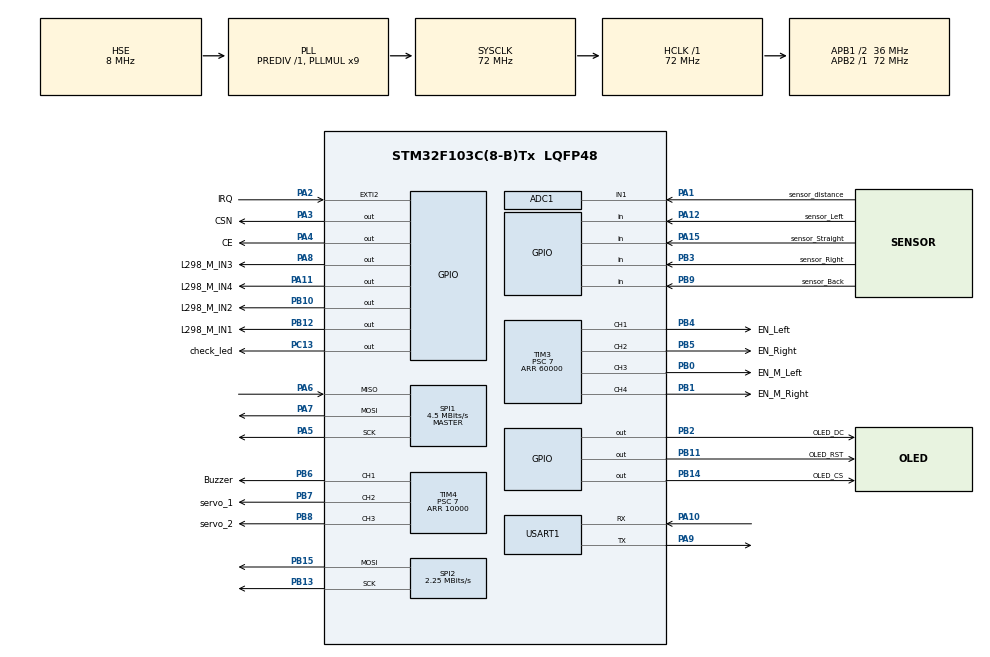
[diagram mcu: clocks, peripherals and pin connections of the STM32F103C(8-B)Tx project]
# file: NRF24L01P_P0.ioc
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ADC1.Channel-2\#ChannelRegularConversion=ADC_CHANNEL_1
ADC1.NbrOfConversion=1
ADC1.NbrOfConversionFlag=1
ADC1.Rank-2\#ChannelRegularConversion=1
ADC1.SamplingTime-2\#ChannelRegularConversion=ADC_SAMPLETIME_239CYCLES_5
ADC1.master=1
Mcu.Family=STM32F1
Mcu.Name=STM32F103C(8-B)Tx
Mcu.Package=LQFP48
NVIC.EXTI2_IRQn=true\:0\:0\:false\:false\:true\:true\:true\:true
NVIC.PriorityGroup=NVIC_PRIORITYGROUP_4
NVIC.USART1_IRQn=true\:0\:0\:false\:false\:true\:true\:true\:true
PA1.GPIO_Label=sensor_distance
PA1.Signal=ADCx_IN1
PA10.Mode=Asynchronous
PA10.Signal=USART1_RX
PA11.GPIO_Label=L298_M_IN4
PA11.Signal=GPIO_Output
PA12.GPIO_Label=sensor_Left
PA12.Signal=GPIO_Input
PA13.Mode=Serial_Wire
PA13.Signal=SYS_JTMS-SWDIO
PA14.Mode=Serial_Wire
PA14.Signal=SYS_JTCK-SWCLK
PA15.GPIO_Label=sensor_Straight
PA15.Signal=GPIO_Input
PA2.GPIO_Label=IRQ
PA2.GPIO_ModeDefaultEXTI=GPIO_MODE_IT_FALLING
PA2.GPIO_PuPd=GPIO_PULLUP
PA2.Signal=GPXTI2
PA3.GPIO_Label=CSN
PA3.GPIO_PuPd=GPIO_PULLUP
PA3.GPIO_Speed=GPIO_SPEED_FREQ_HIGH
PA3.PinState=GPIO_PIN_SET
PA3.Signal=GPIO_Output
PA4.GPIO_Label=CE
PA4.GPIO_PuPd=GPIO_PULLDOWN
PA4.GPIO_Speed=GPIO_SPEED_FREQ_HIGH
PA4.Signal=GPIO_Output
PA5.Mode=Full_Duplex_Master
PA5.Signal=SPI1_SCK
PA6.Mode=Full_Duplex_Master
PA6.Signal=SPI1_MISO
PA7.Mode=Full_Duplex_Master
PA7.Signal=SPI1_MOSI
PA8.GPIO_Label=L298_M_IN3
PA8.Signal=GPIO_Output
PA9.Mode=Asynchronous
PA9.Signal=USART1_TX
PB0.GPIO_Label=EN_M_Left
PB0.Signal=S_TIM3_CH3
PB1.GPIO_Label=EN_M_Right
PB1.Signal=S_TIM3_CH4
PB10.GPIO_Label=L298_M_IN2
PB10.Signal=GPIO_Output
PB11.GPIO_Label=OLED_RST
PB11.GPIO_PuPd=GPIO_PULLUP
PB11.GPIO_Speed=GPIO_SPEED_FREQ_HIGH
PB11.PinState=GPIO_PIN_SET
PB11.Signal=GPIO_Output
PB12.GPIO_Label=L298_M_IN1
PB12.GPIO_PuPd=GPIO_NOPULL
PB12.GPIO_Speed=GPIO_SPEED_FREQ_HIGH
PB12.PinState=GPIO_PIN_RESET
PB12.Signal=GPIO_Output
PB13.Mode=TX_Only_Simplex_Unidirect_Master
PB13.Signal=SPI2_SCK
PB14.GPIO_Label=OLED_CS
PB14.GPIO_PuPd=GPIO_PULLUP
PB14.GPIO_Speed=GPIO_SPEED_FREQ_HIGH
PB14.PinState=GPIO_PIN_SET
PB14.Signal=GPIO_Output
PB15.Mode=TX_Only_Simplex_Unidirect_Master
PB15.Signal=SPI2_MOSI
PB2.GPIO_Label=OLED_DC
PB2.Signal=GPIO_Output
PB3.GPIO_Label=sensor_Right
PB3.Signal=GPIO_Input
PB4.GPIO_Label=EN_Left
PB4.Signal=S_TIM3_CH1
PB5.GPIO_Label=EN_Right
PB5.Signal=S_TIM3_CH2
PB6.GPIO_Label=Buzzer
PB6.Signal=S_TIM4_CH1
PB7.GPIO_Label=servo_1
PB7.Signal=S_TIM4_CH2
PB8.GPIO_Label=servo_2
PB8.Signal=S_TIM4_CH3
PB9.GPIO_Label=sensor_Back
PB9.Signal=GPIO_Input
PC13-TAMPER-RTC.GPIO_Label=check_led
PC13-TAMPER-RTC.Signal=GPIO_Output
PD0-OSC_IN.Mode=HSE-External-Oscillator
PD0-OSC_IN.Signal=RCC_OSC_IN
PD1-OSC_OUT.Mode=HSE-External-Oscillator
PD1-OSC_OUT.Signal=RCC_OSC_OUT
ProjectManager.HeapSize=0x200
ProjectManager.StackSize=0x400
ProjectManager.TargetToolchain=STM32CubeIDE
RCC.ADCPresc=RCC_ADCPCLK2_DIV6
RCC.AHBFreq_Value=72000000
RCC.APB1CLKDivider=RCC_HCLK_DIV2
RCC.APB1Freq_Value=36000000
RCC.APB1TimFreq_Value=72000000
RCC.APB2Freq_Value=72000000
RCC.APB2TimFreq_Value=72000000
RCC.HCLKFreq_Value=72000000
RCC.PLLMUL=RCC_PLL_MUL9
RCC.PLLSourceVirtual=RCC_PLLSOURCE_HSE
RCC.SYSCLKFreq_VALUE=72000000
RCC.SYSCLKSource=RCC_SYSCLKSOURCE_PLLCLK
RCC.USBFreq_Value=72000000
SH.ADCx_IN1.0=ADC1_IN1,IN1
SH.S_TIM3_CH1.0=TIM3_CH1,PWM Generation1 CH1
SH.S_TIM3_CH2.0=TIM3_CH2,PWM Generation2 CH2
SH.S_TIM3_CH3.0=TIM3_CH3,PWM Generation3 CH3
SH.S_TIM3_CH4.0=TIM3_CH4,PWM Generation4 CH4
SH.S_TIM4_CH1.0=TIM4_CH1,PWM Generation1 CH1
SH.S_TIM4_CH2.0=TIM4_CH2,PWM Generation2 CH2
SH.S_TIM4_CH3.0=TIM4_CH3,PWM Generation3 CH3
SPI1.BaudRatePrescaler=SPI_BAUDRATEPRESCALER_16
SPI1.CalculateBaudRate=4.5 MBits/s
SPI1.Direction=SPI_DIRECTION_2LINES
SPI1.Mode=SPI_MODE_MASTER
SPI1.VirtualType=VM_MASTER
SPI2.BaudRatePrescaler=SPI_BAUDRATEPRESCALER_16
SPI2.CalculateBaudRate=2.25 MBits/s
SPI2.Direction=SPI_DIRECTION_2LINES
SPI2.Mode=SPI_MODE_MASTER
SPI2.VirtualType=VM_MASTER
TIM3.Channel-PWM\ Generation1\ CH1=TIM_CHANNEL_1
TIM3.Channel-PWM\ Generation2\ CH2=TIM_CHANNEL_2
TIM3.Channel-PWM\ Generation3\ CH3=TIM_CHANNEL_3
TIM3.Channel-PWM\ Generation4\ CH4=TIM_CHANNEL_4
TIM3.Period=60000
TIM3.Prescaler=7
TIM4.Channel-PWM\ Generation1\ CH1=TIM_CHANNEL_1
TIM4.Channel-PWM\ Generation2\ CH2=TIM_CHANNEL_2
TIM4.Channel-PWM\ Generation3\ CH3=TIM_CHANNEL_3
TIM4.Period=10000
TIM4.Prescaler=7
USART1.VirtualMode=VM_ASYNC
VP_TIM3_VS_ClockSourceINT.Mode=Internal
VP_TIM4_VS_ClockSourceINT.Mode=Internal
board=custom

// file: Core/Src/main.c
/* USER CODE BEGIN Header */
/**
 ******************************************************************************
 * @file           : main.c
 * @brief          : Main program body
 ******************************************************************************
 * @attention
 *
 * Copyright (c) 2023 STMicroelectronics.
 * All rights reserved.
 *
 * This software is licensed under terms that can be found in the LICENSE file
 * in the root directory of this software component.
 * If no LICENSE file comes with this software, it is provided AS-IS.
 *
 ******************************************************************************
 */
/* USER CODE END Header */
#include "main.h"

/* USER CODE BEGIN Includes */
#include "stdio.h"
#include "stdlib.h"
#include "string.h"
#include "nrf24l01p.h"
#include "uart.h"
#include "u8g2.h"

/* USER CODE END Includes */

ADC_HandleTypeDef hadc1;

SPI_HandleTypeDef hspi1;
SPI_HandleTypeDef hspi2;

TIM_HandleTypeDef htim3;
TIM_HandleTypeDef htim4;

UART_HandleTypeDef huart1;

/* USER CODE BEGIN PV */
uint8_t nrf24l01p_rx_flag = 0;
extern ring_buffer_t uart_rx;

bool sen_L = 0;
bool sen_S = 0;
bool sen_B = 0;
bool sen_R = 0;

char control='n';
char speed  ='0';
char buttons='0';
char EN		='0';
bool   in1,in2,in3,in4;
int	  ADC_distance;
//uint8_t address[5]={0xE7,0xE7,0xE7,0xE7,0xE7};
char  data[10];
char  test[10]="STOP";
bool  autoMode = 0;
uint8_t P0_address[6] = "node0";
uint8_t P1_address[6] = "node1";

uint8_t text_trans[2];
uint8_t rx_data[NRF24L01P_PAYLOAD_LENGTH] = { 0 };
uint8_t tx_data[NRF24L01P_PAYLOAD_LENGTH] = { 0 };

/* USER CODE END PV */

void SystemClock_Config(void);
static void MX_GPIO_Init(void);
static void MX_SPI1_Init(void);
static void MX_USART1_UART_Init(void);
static void MX_SPI2_Init(void);
static void MX_TIM3_Init(void);
static void MX_TIM4_Init(void);
static void MX_ADC1_Init(void);
/* USER CODE BEGIN PFP */
void HAL_GPIO_EXTI_Callback(uint16_t GPIO_Pin);
/* USER CODE END PFP */

/* USER CODE BEGIN 0 */
extern uint8_t u8x8_stm32_gpio_and_delay(u8x8_t *u8x8, uint8_t msg,
		uint8_t arg_int, void *arg_ptr);
extern uint8_t u8x8_byte_stm32_hw_spi(u8x8_t *u8x8, uint8_t msg,
		uint8_t arg_int, void *arg_ptr);

static u8g2_t u8g2;

// Hàm map() ánh xạ giá trị từ một phạm vi này sang một phạm vi khác
int32_t map(int32_t x, int32_t in_min, int32_t in_max, int32_t out_min, int32_t out_max) {
    return (x - in_min) * (out_max - out_min) / (in_max - in_min) + out_min;
}
void int_to_string(int number, char* buffer) {
    sprintf(buffer, "%d", number);   // Ham chuyen int sang string
}
void  sensor()
{
	sen_R = HAL_GPIO_ReadPin(sensor_Right_GPIO_Port, sensor_Right_Pin);
	sen_L = HAL_GPIO_ReadPin(sensor_Left_GPIO_Port, sensor_Left_Pin);
	sen_S = HAL_GPIO_ReadPin(sensor_Straight_GPIO_Port, sensor_Straight_Pin);
	sen_B = HAL_GPIO_ReadPin(sensor_Back_GPIO_Port, sensor_Back_Pin);
	if( sen_R ==0 || sen_L ==0 || sen_B ==0 || sen_S ==0  )
		{
			if( sen_R == 0)
				{text_trans[0] = 'R';
				TIM3->CCR1 = 0;	//  left
				TIM3->CCR2 = 0;	//	right
				TIM3->CCR3 = 0;	//	Left Mecanum
				TIM3->CCR4 = 0;	//	Right Mecanum
				}

			if( sen_L  == 0 )
				{text_trans[0] = 'L';
				TIM3->CCR1 = 0;	//  left
				TIM3->CCR2 = 0;	//	right
				TIM3->CCR3 = 0;	//	Left Mecanum
				TIM3->CCR4 = 0;	//	Right Mecanum
				}

			if( sen_B == 0)
				{text_trans[0] = 'B';
				TIM3->CCR1 = 0;	//  left
				TIM3->CCR2 = 0;	//	right
				TIM3->CCR3 = 0;	//	Left Mecanum
				TIM3->CCR4 = 0;	//	Right Mecanum
				}
			if( sen_S == 0)
				{text_trans[0] = 'S';
				TIM3->CCR1 = 0;	//  left
				TIM3->CCR2 = 0;	//	right
				TIM3->CCR3 = 0;	//	Left Mecanum
				TIM3->CCR4 = 0;	//	Right Mecanum
				}

			while(sen_R ==0 || sen_L ==0 || sen_B ==0 || sen_S ==0  ){
				sen_R = HAL_GPIO_ReadPin(sensor_Right_GPIO_Port, sensor_Right_Pin);
				sen_L = HAL_GPIO_ReadPin(sensor_Left_GPIO_Port, sensor_Left_Pin);
				sen_S = HAL_GPIO_ReadPin(sensor_Straight_GPIO_Port, sensor_Straight_Pin);
				sen_B = HAL_GPIO_ReadPin(sensor_Back_GPIO_Port, sensor_Back_Pin);
				trans_nRF();
			}
		}
	else
		text_trans[0] = 'N';

}
float distance(){
	HAL_ADC_Start(&hadc1);
	HAL_ADC_PollForConversion (&hadc1, 100);
	ADC_distance = HAL_ADC_GetValue(&hadc1);
	float dis= 29.988 * pow(map(ADC_distance, 0, 4095, 0, 5000)/1000.0, -1.173);
}
void read_nRF(){
		if (nrf24l01p_rx_flag == 1) {
			nrf24l01p_rx_flag =0;
			uint8_t stat = read_register(NRF24L01P_REG_CONFIG);
			if (!(stat & (1 << 0))) {

				nrf24l01p_prx_mode();

			}

			//nrf24l01p_flush_rx_fifo();
			nrf24l01p_rx_receive(rx_data);
			for(int i = 0; i<4; i++)
			 data[i] = rx_data[i];

			HAL_UART_Transmit(&huart1, rx_data, sizeof(rx_data), 500);
			HAL_GPIO_TogglePin(check_led_GPIO_Port, check_led_Pin);

		}

}

void   trans_nRF(){
		memset(tx_data, 0, sizeof(tx_data));
		int num = 0;
//		if (num = uart_available(&uart_rx)) {
		if (EN = '1') {
			nrf24l01p_ptx_mode();
//			for (int i = 0; i < num; i++) {
//
//				int ch = pop(&uart_rx);
//				if (ch != -1) {
//					tx_data[i] = ch;
//				}
//
//			}

			nrf24l01p_flush_tx_fifo();
			nrf24l01p_tx_transmit(text_trans);
			HAL_Delay(50);
			//HAL_UART_Transmit(&huart1, tx_data, sizeof(tx_data), 500);
			nrf24l01p_prx_mode();
			nrf24l01p_flush_tx_fifo();
		}
}

void controler(char temp)
{
	switch ( temp ){
	case 'W':
		in1 = 1;
		in2 = 0;
		in3 = 1;
		in4 = 0;
			break;
	case 'S':
		in1 = 0;
		in2 = 1;
		in3 = 0;
		in4 = 1;

			break;
	case 'A': // ngang trái
			break;
	case 'D': // ngang phải
			break;
	case 'R': // quẹo phải
		in1 = 0;
		in2 = 1;
		in3 = 1;
		in4 = 0;
		TIM3->CCR1 = 1700*(temp);	//  left
		TIM3->CCR2 = 1700*(temp);	//	right
		TIM3->CCR3 = 2800*(temp);	//	Left Mecanum
		TIM3->CCR4 = 2800*(temp);	//	Right Mecanum
			break;
	case 'L': // quẹo phải
		in1 = 1;
		in2 = 0;
		in3 = 0;
		in4 = 1;
		TIM3->CCR1 = 1700*(temp);	//  left
		TIM3->CCR2 = 1700*(temp);	//	right
		TIM3->CCR3 = 2800*(temp);	//	Left Mecanum
		TIM3->CCR4 = 2800*(temp);	//	Right Mecanum
			break;
	default :
		in1 = 0;
		in2 = 0;
		in3 = 0;
		in4 = 0;

			break;
	}
	HAL_GPIO_WritePin(L298_M_IN1_GPIO_Port,L298_M_IN1_Pin, in1);
	HAL_GPIO_WritePin(L298_M_IN2_GPIO_Port,L298_M_IN2_Pin, in2);
	HAL_GPIO_WritePin(L298_M_IN3_GPIO_Port,L298_M_IN3_Pin, in3);
	HAL_GPIO_WritePin(L298_M_IN4_GPIO_Port,L298_M_IN4_Pin, in4);
}
void readbuttons(char temp ){
	switch ( temp ){
		case '0' :
				break;
		case '1' :
			// Right , đã define trong controller
				break;

		case '2' :
			// Left , đã define trong controller
				break;
		case '3' :

				break;
		case '4' :

				break;
		case '5' :

				break;
		case '6' :

				break;
		case '7' :

				break;
		case '8' :
					autoMode = !autoMode;
						HAL_Delay(500);
				break;
		default:
				break;
		}
}
void readData()
{

	buttons = data[2];
	EN 		= data[3];
	readbuttons(buttons);

}
void remoteControl(){
	control = data[0];
	controler(control);
	speed 	= data[1];
	short temp = speed - 48;
	TIM3->CCR1 = 1700*(temp);	//  left
	TIM3->CCR2 = 1700*(temp);	//	right
	TIM3->CCR3 = 2800*(temp);	//	Left Mecanum
	TIM3->CCR4 = 2800*(temp);	//	Right Mecanum
}
void autoControl()
{
	if ( sen_S == 1)
	{
		in1 = 1;
		in2 = 0;
		in3 = 1;
		in4 = 0;
		TIM3->CCR1 = 5000;	//  left
		TIM3->CCR2 = 5000;	//	right
		TIM3->CCR3 = 10000;	//	Left Mecanum
		TIM3->CCR4 = 10000;	//	Right Mecanum
	}
	else
	{
		in1 = 0;
		in2 = 0;
		in3 = 0;
		in4 = 0;
		TIM3->CCR1 = 0;	//  left
		TIM3->CCR2 = 0;	//	right
		TIM3->CCR3 = 0;	//	Left Mecanum
		TIM3->CCR4 = 0;	//	Right Mecanum

	}
}

/* USER CODE END 0 */

int main(void)
{

  /* MCU Configuration--------------------------------------------------------*/

  /* Reset of all peripherals, Initializes the Flash interface and the Systick. */
  HAL_Init();

  /* Configure the system clock */
  SystemClock_Config();

  /* Initialize all configured peripherals */
  MX_GPIO_Init();
  MX_SPI1_Init();
  MX_USART1_UART_Init();
  MX_SPI2_Init();
  MX_TIM3_Init();
  MX_TIM4_Init();
  MX_ADC1_Init();
  /* USER CODE BEGIN 2 */

// EN LN298
  HAL_TIM_PWM_Start(&htim3, TIM_CHANNEL_1);	//  left
  HAL_TIM_PWM_Start(&htim3, TIM_CHANNEL_2);	//	right
  HAL_TIM_PWM_Start(&htim3, TIM_CHANNEL_3); //  Left Mecanum
  HAL_TIM_PWM_Start(&htim3, TIM_CHANNEL_4); //  Right Mecanum
  TIM3->CCR1 = 0;	//  left
  TIM3->CCR2 = 0;	//	right
  TIM3->CCR3 = 0;	//	Left Mecanum
  TIM3->CCR4 = 0;	//	Right Mecanum

  //
  HAL_TIM_PWM_Start(&htim4, TIM_CHANNEL_1);
  HAL_TIM_PWM_Start(&htim4, TIM_CHANNEL_2);
  HAL_TIM_PWM_Start(&htim4, TIM_CHANNEL_3);
  TIM4->CCR1 = 0;
  TIM4->CCR2 = 0;
  TIM4->CCR3 = 0;
  TIM4->CCR4 = 0;

	/*
	 u8g2_Setup_ssd1306_128x64_noname_f(&u8g2, U8G2_R0, u8x8_byte_stm32_hw_spi,
	 u8x8_stm32_gpio_and_delay);

	 u8g2_InitDisplay(&u8g2);
	 u8g2_SetPowerSave(&u8g2, 0);

	 //u8g2_SetFont(&u8g2, u8g2_font_5x7_tr);
	 //u8g2_SetFont(&u8g2, u8g2_font_6x13_mr);
	 u8g2_SetFont(&u8g2, u8g2_font_inb16_mr);

	 //u8g2_SetDisplayRotation(&u8g2, U8G2_R2);
	 */

	nrf24l01p_rx_init(2500, _1Mbps, P0_address, P1_address);

	rxBufferInit(&uart_rx);

	/* Enable the UART Error Interrupt: (Frame error, noise error, overrun error) */
	__HAL_UART_ENABLE_IT(&huart1, UART_IT_ERR);

	/* Enable the UART Data Register not empty Interrupt */
	__HAL_UART_ENABLE_IT(&huart1, UART_IT_RXNE);

  /* USER CODE END 2 */

  /* Infinite loop */
	while (1) {

    /* USER CODE BEGIN 3 */

		/*
		 u8g2_FirstPage(&u8g2);
		 do {
		 u8g2_DrawStr(&u8g2, 5, 21, rx_data);
		 } while (u8g2_NextPage(&u8g2));
		 */
		// doc gia tri cam bien vat can
		sensor();
		// nRF24L01
		readData();
		read_nRF();
		trans_nRF();
		if(autoMode)
			autoControl();
		else
			remoteControl();
		HAL_Delay(30);
	}
  /* USER CODE END 3 */
}

void SystemClock_Config(void)
{
  RCC_OscInitTypeDef RCC_OscInitStruct = {0};
  RCC_ClkInitTypeDef RCC_ClkInitStruct = {0};
  RCC_PeriphCLKInitTypeDef PeriphClkInit = {0};

  /** Initializes the RCC Oscillators according to the specified parameters
  * in the RCC_OscInitTypeDef structure.
  */
  RCC_OscInitStruct.OscillatorType = RCC_OSCILLATORTYPE_HSE;
  RCC_OscInitStruct.HSEState = RCC_HSE_ON;
  RCC_OscInitStruct.HSEPredivValue = RCC_HSE_PREDIV_DIV1;
  RCC_OscInitStruct.HSIState = RCC_HSI_ON;
  RCC_OscInitStruct.PLL.PLLState = RCC_PLL_ON;
  RCC_OscInitStruct.PLL.PLLSource = RCC_PLLSOURCE_HSE;
  RCC_OscInitStruct.PLL.PLLMUL = RCC_PLL_MUL9;
  if (HAL_RCC_OscConfig(&RCC_OscInitStruct) != HAL_OK)
  {
    Error_Handler();
  }

  /** Initializes the CPU, AHB and APB buses clocks
  */
  RCC_ClkInitStruct.ClockType = RCC_CLOCKTYPE_HCLK|RCC_CLOCKTYPE_SYSCLK
                              |RCC_CLOCKTYPE_PCLK1|RCC_CLOCKTYPE_PCLK2;
  RCC_ClkInitStruct.SYSCLKSource = RCC_SYSCLKSOURCE_PLLCLK;
  RCC_ClkInitStruct.AHBCLKDivider = RCC_SYSCLK_DIV1;
  RCC_ClkInitStruct.APB1CLKDivider = RCC_HCLK_DIV2;
  RCC_ClkInitStruct.APB2CLKDivider = RCC_HCLK_DIV1;

  if (HAL_RCC_ClockConfig(&RCC_ClkInitStruct, FLASH_LATENCY_2) != HAL_OK)
  {
    Error_Handler();
  }
  PeriphClkInit.PeriphClockSelection = RCC_PERIPHCLK_ADC;
  PeriphClkInit.AdcClockSelection = RCC_ADCPCLK2_DIV6;
  if (HAL_RCCEx_PeriphCLKConfig(&PeriphClkInit) != HAL_OK)
  {
    Error_Handler();
  }
}

static void MX_ADC1_Init(void)
{

  ADC_ChannelConfTypeDef sConfig = {0};

  /** Common config
  */
  hadc1.Instance = ADC1;
  hadc1.Init.ScanConvMode = ADC_SCAN_DISABLE;
  hadc1.Init.ContinuousConvMode = DISABLE;
  hadc1.Init.DiscontinuousConvMode = DISABLE;
  hadc1.Init.ExternalTrigConv = ADC_SOFTWARE_START;
  hadc1.Init.DataAlign = ADC_DATAALIGN_RIGHT;
  hadc1.Init.NbrOfConversion = 1;
  if (HAL_ADC_Init(&hadc1) != HAL_OK)
  {
    Error_Handler();
  }

  /** Configure Regular Channel
  */
  sConfig.Channel = ADC_CHANNEL_1;
  sConfig.Rank = ADC_REGULAR_RANK_1;
  sConfig.SamplingTime = ADC_SAMPLETIME_239CYCLES_5;
  if (HAL_ADC_ConfigChannel(&hadc1, &sConfig) != HAL_OK)
  {
    Error_Handler();
  }

}

static void MX_SPI1_Init(void)
{

  /* SPI1 parameter configuration*/
  hspi1.Instance = SPI1;
  hspi1.Init.Mode = SPI_MODE_MASTER;
  hspi1.Init.Direction = SPI_DIRECTION_2LINES;
  hspi1.Init.DataSize = SPI_DATASIZE_8BIT;
  hspi1.Init.CLKPolarity = SPI_POLARITY_LOW;
  hspi1.Init.CLKPhase = SPI_PHASE_1EDGE;
  hspi1.Init.NSS = SPI_NSS_SOFT;
  hspi1.Init.BaudRatePrescaler = SPI_BAUDRATEPRESCALER_16;
  hspi1.Init.FirstBit = SPI_FIRSTBIT_MSB;
  hspi1.Init.TIMode = SPI_TIMODE_DISABLE;
  hspi1.Init.CRCCalculation = SPI_CRCCALCULATION_DISABLE;
  hspi1.Init.CRCPolynomial = 10;
  if (HAL_SPI_Init(&hspi1) != HAL_OK)
  {
    Error_Handler();
  }

}

static void MX_SPI2_Init(void)
{

  /* SPI2 parameter configuration*/
  hspi2.Instance = SPI2;
  hspi2.Init.Mode = SPI_MODE_MASTER;
  hspi2.Init.Direction = SPI_DIRECTION_2LINES;
  hspi2.Init.DataSize = SPI_DATASIZE_8BIT;
  hspi2.Init.CLKPolarity = SPI_POLARITY_LOW;
  hspi2.Init.CLKPhase = SPI_PHASE_1EDGE;
  hspi2.Init.NSS = SPI_NSS_SOFT;
  hspi2.Init.BaudRatePrescaler = SPI_BAUDRATEPRESCALER_16;
  hspi2.Init.FirstBit = SPI_FIRSTBIT_MSB;
  hspi2.Init.TIMode = SPI_TIMODE_DISABLE;
  hspi2.Init.CRCCalculation = SPI_CRCCALCULATION_DISABLE;
  hspi2.Init.CRCPolynomial = 10;
  if (HAL_SPI_Init(&hspi2) != HAL_OK)
  {
    Error_Handler();
  }

}

static void MX_TIM3_Init(void)
{

  TIM_ClockConfigTypeDef sClockSourceConfig = {0};
  TIM_MasterConfigTypeDef sMasterConfig = {0};
  TIM_OC_InitTypeDef sConfigOC = {0};

  htim3.Instance = TIM3;
  htim3.Init.Prescaler = 7;
  htim3.Init.CounterMode = TIM_COUNTERMODE_UP;
  htim3.Init.Period = 60000;
  htim3.Init.ClockDivision = TIM_CLOCKDIVISION_DIV1;
  htim3.Init.AutoReloadPreload = TIM_AUTORELOAD_PRELOAD_DISABLE;
  if (HAL_TIM_Base_Init(&htim3) != HAL_OK)
  {
    Error_Handler();
  }
  sClockSourceConfig.ClockSource = TIM_CLOCKSOURCE_INTERNAL;
  if (HAL_TIM_ConfigClockSource(&htim3, &sClockSourceConfig) != HAL_OK)
  {
    Error_Handler();
  }
  if (HAL_TIM_PWM_Init(&htim3) != HAL_OK)
  {
    Error_Handler();
  }
  sMasterConfig.MasterOutputTrigger = TIM_TRGO_RESET;
  sMasterConfig.MasterSlaveMode = TIM_MASTERSLAVEMODE_DISABLE;
  if (HAL_TIMEx_MasterConfigSynchronization(&htim3, &sMasterConfig) != HAL_OK)
  {
    Error_Handler();
  }
  sConfigOC.OCMode = TIM_OCMODE_PWM1;
  sConfigOC.Pulse = 0;
  sConfigOC.OCPolarity = TIM_OCPOLARITY_HIGH;
  sConfigOC.OCFastMode = TIM_OCFAST_DISABLE;
  if (HAL_TIM_PWM_ConfigChannel(&htim3, &sConfigOC, TIM_CHANNEL_1) != HAL_OK)
  {
    Error_Handler();
  }
  if (HAL_TIM_PWM_ConfigChannel(&htim3, &sConfigOC, TIM_CHANNEL_2) != HAL_OK)
  {
    Error_Handler();
  }
  if (HAL_TIM_PWM_ConfigChannel(&htim3, &sConfigOC, TIM_CHANNEL_3) != HAL_OK)
  {
    Error_Handler();
  }
  if (HAL_TIM_PWM_ConfigChannel(&htim3, &sConfigOC, TIM_CHANNEL_4) != HAL_OK)
  {
    Error_Handler();
  }
  HAL_TIM_MspPostInit(&htim3);

}

static void MX_TIM4_Init(void)
{

  TIM_ClockConfigTypeDef sClockSourceConfig = {0};
  TIM_MasterConfigTypeDef sMasterConfig = {0};
  TIM_OC_InitTypeDef sConfigOC = {0};

  htim4.Instance = TIM4;
  htim4.Init.Prescaler = 7;
  htim4.Init.CounterMode = TIM_COUNTERMODE_UP;
  htim4.Init.Period = 10000;
  htim4.Init.ClockDivision = TIM_CLOCKDIVISION_DIV1;
  htim4.Init.AutoReloadPreload = TIM_AUTORELOAD_PRELOAD_DISABLE;
  if (HAL_TIM_Base_Init(&htim4) != HAL_OK)
  {
    Error_Handler();
  }
  sClockSourceConfig.ClockSource = TIM_CLOCKSOURCE_INTERNAL;
  if (HAL_TIM_ConfigClockSource(&htim4, &sClockSourceConfig) != HAL_OK)
  {
    Error_Handler();
  }
  if (HAL_TIM_PWM_Init(&htim4) != HAL_OK)
  {
    Error_Handler();
  }
  sMasterConfig.MasterOutputTrigger = TIM_TRGO_RESET;
  sMasterConfig.MasterSlaveMode = TIM_MASTERSLAVEMODE_DISABLE;
  if (HAL_TIMEx_MasterConfigSynchronization(&htim4, &sMasterConfig) != HAL_OK)
  {
    Error_Handler();
  }
  sConfigOC.OCMode = TIM_OCMODE_PWM1;
  sConfigOC.Pulse = 0;
  sConfigOC.OCPolarity = TIM_OCPOLARITY_HIGH;
  sConfigOC.OCFastMode = TIM_OCFAST_DISABLE;
  if (HAL_TIM_PWM_ConfigChannel(&htim4, &sConfigOC, TIM_CHANNEL_1) != HAL_OK)
  {
    Error_Handler();
  }
  if (HAL_TIM_PWM_ConfigChannel(&htim4, &sConfigOC, TIM_CHANNEL_2) != HAL_OK)
  {
    Error_Handler();
  }
  if (HAL_TIM_PWM_ConfigChannel(&htim4, &sConfigOC, TIM_CHANNEL_3) != HAL_OK)
  {
    Error_Handler();
  }
  HAL_TIM_MspPostInit(&htim4);

}

static void MX_USART1_UART_Init(void)
{

  huart1.Instance = USART1;
  huart1.Init.BaudRate = 115200;
  huart1.Init.WordLength = UART_WORDLENGTH_8B;
  huart1.Init.StopBits = UART_STOPBITS_1;
  huart1.Init.Parity = UART_PARITY_NONE;
  huart1.Init.Mode = UART_MODE_TX_RX;
  huart1.Init.HwFlowCtl = UART_HWCONTROL_NONE;
  huart1.Init.OverSampling = UART_OVERSAMPLING_16;
  if (HAL_UART_Init(&huart1) != HAL_OK)
  {
    Error_Handler();
  }

}

static void MX_GPIO_Init(void)
{
  GPIO_InitTypeDef GPIO_InitStruct = {0};

  /* GPIO Ports Clock Enable */
  __HAL_RCC_GPIOC_CLK_ENABLE();
  __HAL_RCC_GPIOD_CLK_ENABLE();
  __HAL_RCC_GPIOA_CLK_ENABLE();
  __HAL_RCC_GPIOB_CLK_ENABLE();

  /*Configure GPIO pin Output Level */
  HAL_GPIO_WritePin(check_led_GPIO_Port, check_led_Pin, GPIO_PIN_RESET);

  /*Configure GPIO pin Output Level */
  HAL_GPIO_WritePin(CSN_GPIO_Port, CSN_Pin, GPIO_PIN_SET);

  /*Configure GPIO pin Output Level */
  HAL_GPIO_WritePin(GPIOA, CE_Pin|L298_M_IN3_Pin|L298_M_IN4_Pin, GPIO_PIN_RESET);

  /*Configure GPIO pin Output Level */
  HAL_GPIO_WritePin(GPIOB, OLED_DC_Pin|L298_M_IN2_Pin|L298_M_IN1_Pin, GPIO_PIN_RESET);

  /*Configure GPIO pin Output Level */
  HAL_GPIO_WritePin(GPIOB, OLED_RST_Pin|OLED_CS_Pin, GPIO_PIN_SET);

  /*Configure GPIO pin : check_led_Pin */
  GPIO_InitStruct.Pin = check_led_Pin;
  GPIO_InitStruct.Mode = GPIO_MODE_OUTPUT_PP;
  GPIO_InitStruct.Pull = GPIO_NOPULL;
  GPIO_InitStruct.Speed = GPIO_SPEED_FREQ_LOW;
  HAL_GPIO_Init(check_led_GPIO_Port, &GPIO_InitStruct);

  /*Configure GPIO pin : IRQ_Pin */
  GPIO_InitStruct.Pin = IRQ_Pin;
  GPIO_InitStruct.Mode = GPIO_MODE_IT_FALLING;
  GPIO_InitStruct.Pull = GPIO_PULLUP;
  HAL_GPIO_Init(IRQ_GPIO_Port, &GPIO_InitStruct);

  /*Configure GPIO pin : CSN_Pin */
  GPIO_InitStruct.Pin = CSN_Pin;
  GPIO_InitStruct.Mode = GPIO_MODE_OUTPUT_PP;
  GPIO_InitStruct.Pull = GPIO_PULLUP;
  GPIO_InitStruct.Speed = GPIO_SPEED_FREQ_HIGH;
  HAL_GPIO_Init(CSN_GPIO_Port, &GPIO_InitStruct);

  /*Configure GPIO pin : CE_Pin */
  GPIO_InitStruct.Pin = CE_Pin;
  GPIO_InitStruct.Mode = GPIO_MODE_OUTPUT_PP;
  GPIO_InitStruct.Pull = GPIO_PULLDOWN;
  GPIO_InitStruct.Speed = GPIO_SPEED_FREQ_HIGH;
  HAL_GPIO_Init(CE_GPIO_Port, &GPIO_InitStruct);

  /*Configure GPIO pins : OLED_DC_Pin L298_M_IN2_Pin */
  GPIO_InitStruct.Pin = OLED_DC_Pin|L298_M_IN2_Pin;
  GPIO_InitStruct.Mode = GPIO_MODE_OUTPUT_PP;
  GPIO_InitStruct.Pull = GPIO_NOPULL;
  GPIO_InitStruct.Speed = GPIO_SPEED_FREQ_LOW;
  HAL_GPIO_Init(GPIOB, &GPIO_InitStruct);

  /*Configure GPIO pins : OLED_RST_Pin OLED_CS_Pin */
  GPIO_InitStruct.Pin = OLED_RST_Pin|OLED_CS_Pin;
  GPIO_InitStruct.Mode = GPIO_MODE_OUTPUT_PP;
  GPIO_InitStruct.Pull = GPIO_PULLUP;
  GPIO_InitStruct.Speed = GPIO_SPEED_FREQ_HIGH;
  HAL_GPIO_Init(GPIOB, &GPIO_InitStruct);

  /*Configure GPIO pin : L298_M_IN1_Pin */
  GPIO_InitStruct.Pin = L298_M_IN1_Pin;
  GPIO_InitStruct.Mode = GPIO_MODE_OUTPUT_PP;
  GPIO_InitStruct.Pull = GPIO_NOPULL;
  GPIO_InitStruct.Speed = GPIO_SPEED_FREQ_HIGH;
  HAL_GPIO_Init(L298_M_IN1_GPIO_Port, &GPIO_InitStruct);

  /*Configure GPIO pins : L298_M_IN3_Pin L298_M_IN4_Pin */
  GPIO_InitStruct.Pin = L298_M_IN3_Pin|L298_M_IN4_Pin;
  GPIO_InitStruct.Mode = GPIO_MODE_OUTPUT_PP;
  GPIO_InitStruct.Pull = GPIO_NOPULL;
  GPIO_InitStruct.Speed = GPIO_SPEED_FREQ_LOW;
  HAL_GPIO_Init(GPIOA, &GPIO_InitStruct);

  /*Configure GPIO pins : sensor_Left_Pin sensor_Straight_Pin */
  GPIO_InitStruct.Pin = sensor_Left_Pin|sensor_Straight_Pin;
  GPIO_InitStruct.Mode = GPIO_MODE_INPUT;
  GPIO_InitStruct.Pull = GPIO_NOPULL;
  HAL_GPIO_Init(GPIOA, &GPIO_InitStruct);

  /*Configure GPIO pins : sensor_Right_Pin sensor_Back_Pin */
  GPIO_InitStruct.Pin = sensor_Right_Pin|sensor_Back_Pin;
  GPIO_InitStruct.Mode = GPIO_MODE_INPUT;
  GPIO_InitStruct.Pull = GPIO_NOPULL;
  HAL_GPIO_Init(GPIOB, &GPIO_InitStruct);

  /* EXTI interrupt init*/
  HAL_NVIC_SetPriority(EXTI2_IRQn, 0, 0);
  HAL_NVIC_EnableIRQ(EXTI2_IRQn);

}

/* USER CODE BEGIN 4 */
void HAL_GPIO_EXTI_Callback(uint16_t GPIO_Pin) {
	if (GPIO_Pin == NRF24L01P_IRQ_PIN_NUMBER) {
		nrf24l01p_rx_flag=1;
	}

}
/* USER CODE END 4 */

void Error_Handler(void)
{
	__disable_irq();
	while (1) {
	}
}
